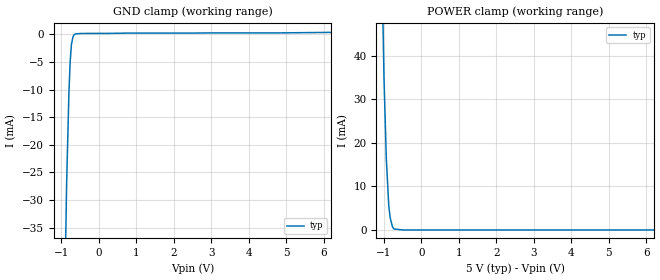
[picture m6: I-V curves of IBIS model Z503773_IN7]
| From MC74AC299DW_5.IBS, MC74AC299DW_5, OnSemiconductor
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| (C) COPYRIGHT 1993-2000
| MENTOR GRAPHICS CORPORATION
| ICX STANDARD LIBRARY, ICX PROJECT MODELING,
| ICX CUSTOM MODELING, ICX VENDOR MODEL
| ALL RIGHTS RESERVED.
| THE FOLLOWING ARE TRADEMARKS OR SERVICE MARKS OF
| MENTOR GRAPHICS CORPORATION:ICX (R), ICX STANDARD
| LIBRARY(R), ICX PROJECT MODELING(R), ICX CUSTOM
| MODELING(R), qualityIBIS(TM), MODELVIEWER(TM),
| AND MODELEDITOR(TM)
| ALL COPIES OF SOFTWARE, INCLUDING BUT NOT LIMITED TO
| ANY MODIFICATIONS, ENHANCEMENTS OR DERIVATIVE WORKS,
| MUST CONTAIN ALL MENTOR GRAPHICS CORPORATION'S
| NOTICES AND LEGENDS, INCLUDING THOSE EMBEDDED IN
| SOFTWARE AND THOSE AFFIXED TO SOFTWARE MEDIUM
| AND CONTAINER, AS RECEIVED FROM MENTOR GRAPHICS
| CORPORATION.
| Model Application Version 1.89 2/18/99.
[Model] Z503773_IN7
Model_type Input
Vinl = 1.500V
Vinh = 3.500V
C_comp 4.000pF NA NA
| variable typ   min   max
[Voltage Range] 5.000V NA NA
[GND Clamp Reference] 0.000V NA NA
[POWER Clamp Reference] 5.000V NA NA
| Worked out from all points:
|   GND clamp passes 1 mA (typ) near -0.71 V on its own axis
|   POWER clamp passes 1 mA (typ) near -0.78 V on its own axis
[GND Clamp]
-5V       -2.798A    NA         NA
-1.01V    -89.99mA   NA         NA
-859.3mV  -27.26mA   NA         NA
-797.9mV  -10.72mA   NA         NA
-766.2mV  -5.165mA   NA         NA
-730.5mV  -1.82mA    NA         NA
-687.7mV  -411.7uA   NA         NA
-648.2mV  9.677uA    NA         NA
-610.4mV  104.5uA    NA         NA
10V       625.3uA    NA         NA
[POWER Clamp]
-5V       2.742A     NA         NA
-1.308V   208mA      NA         NA
-1.128V   97.61mA    NA         NA
-996mV    35.16mA    NA         NA
-933mV    16.25mA    NA         NA
-867mV    5.472mA    NA         NA
-830mV    2.79mA     NA         NA
-771mV    768.2uA    NA         NA
-732mV    237.7uA    NA         NA
-488mV    0A         NA         NA
10V       0A         NA         NA
